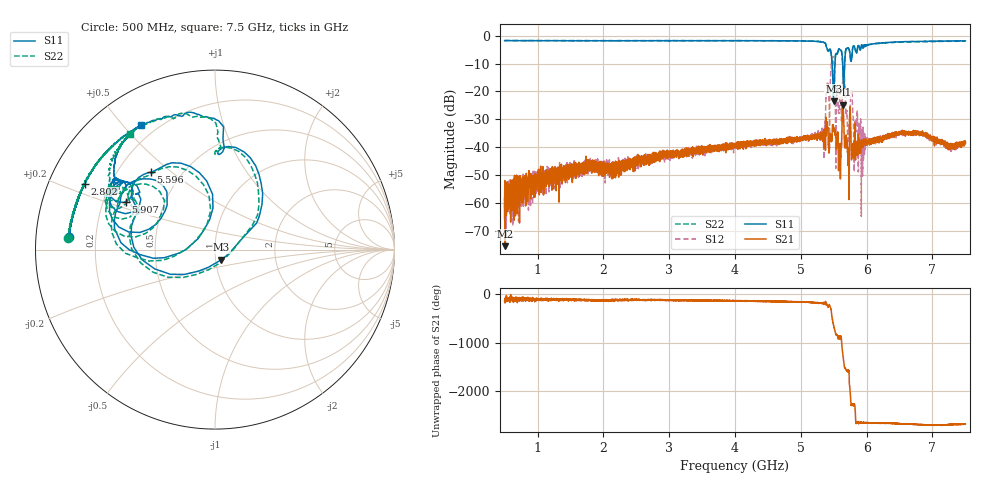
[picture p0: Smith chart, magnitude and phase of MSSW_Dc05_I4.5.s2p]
!Keysight Technologies,M9374A,MY55442783,A.12.55.05
!Date: Wednesday, May 19, 2021 19:21:35
!Correction: S11(Full 2 Port(1,2))
!S21(Full 2 Port(1,2))
!S12(Full 2 Port(1,2))
!S22(Full 2 Port(1,2))
!S2P File: Measurements: S11, S21, S12, S22:
# Hz S  RI  R 50
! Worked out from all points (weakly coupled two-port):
!   7001 points, 500 MHz to 7.5 GHz, reference 50 ohm
!   highest |S21| = -24.79 dB at 5.639 GHz (marker M1); lowest = -75.5 dB at 506 MHz (marker M2)
!   lowest |S11| = -23.5 dB at 5.5 GHz (marker M3), VSWR 1.14, Z = 53.4 - j6.02 ohm
!   |S11| at or under -10 dB: 5.476 GHz to 5.518 GHz (42.51 MHz wide, 0.773 % of centre); 5.636 GHz to 5.666 GHz (29.93 MHz wide, 0.53 % of centre)
!   |S22| runs from -22.8 to -1.7 dB; largest |S21 - S12| = 0.39
!   S11 on the Smith chart (normalised r, x): 500 MHz: 0.10, +0.04; 2.802 GHz: 0.11, +0.24; 5.596 GHz: 0.34, +0.43; 5.907 GHz: 0.30, +0.23; 7.5 GHz: 0.14, +0.56
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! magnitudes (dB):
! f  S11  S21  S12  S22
! 500 MHz  -1.8  -58.3  -62.0  -1.7
! 506 MHz  -1.7  -75.5  -54.3  -1.7
! 670 MHz  -1.8  -52.4  -56.4  -1.7
! 1.667 GHz  -1.8  -48.4  -49.4  -1.8
! 2.802 GHz  -1.8  -42.7  -43.2  -1.8
! 2.834 GHz  -1.8  -44.8  -42.4  -1.8
! 4 GHz  -1.8  -39.8  -39.6  -1.8
! 5.167 GHz  -2.0  -36.0  -36.5  -2.0
! 5.338 GHz  -2.2  -35.2  -34.9  -2.1
! 5.439 GHz  -4.8  -35.7  -27.7  -4.9
! 5.477 GHz  -10.6  -34.3  -8.1  -10.8
! 5.5 GHz  -23.5  -33.0  -8.5  -21.9
! 5.552 GHz  -6.6  -37.7  -21.3  -6.6
! 5.596 GHz  -5.0  -46.1  -22.1  -5.0
! 5.639 GHz  -12.1  -24.8  -14.5  -12.4
! 5.668 GHz  -9.2  -39.8  -16.2  -8.6
! 5.714 GHz  -4.3  -44.9  -37.7  -4.3
! 5.767 GHz  -9.1  -42.7  -19.7  -8.8
! 5.816 GHz  -4.0  -36.5  -40.1  -4.0
! 5.907 GHz  -5.0  -42.2  -30.2  -4.8
! 6.334 GHz  -2.4  -36.1  -36.0  -2.5
! 7.5 GHz  -1.9  -38.6  -38.9  -2.0
